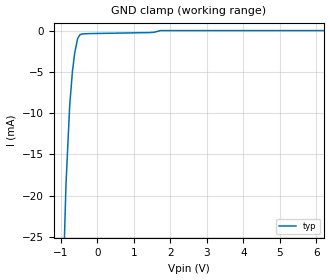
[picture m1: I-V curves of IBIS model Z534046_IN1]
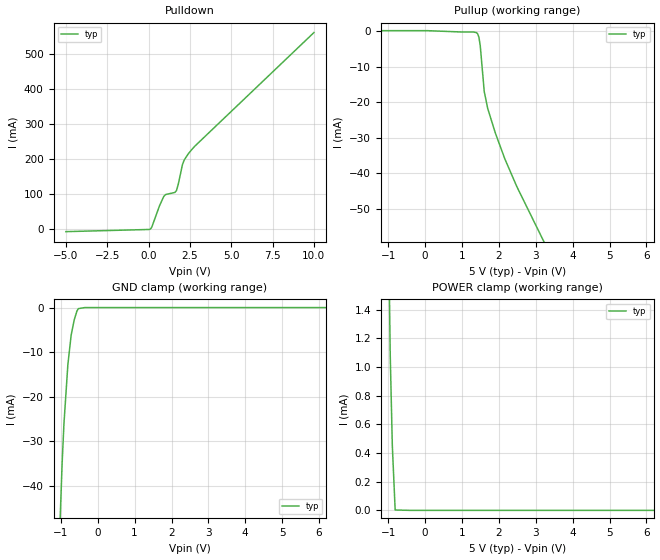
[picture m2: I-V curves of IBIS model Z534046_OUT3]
| YOU ARE ONLY AUTHORIZED TO USE THIS SOFTWARE
| ACCORDING TO LICENSOR'S LICENSE RESTRICTIONS.
[IBIS Ver] 3.1
[File Name] mc54f08j.ibs
[File Rev] 2.0
[Source] Measured and created by ICX Technology
[Date] Friday 7/14/00 9:08:02 AM
[Copyright]
| (C) COPYRIGHT 1993-2000
| MENTOR GRAPHICS CORPORATION
| ICX STANDARD LIBRARY, ICX PROJECT MODELING,
| ICX CUSTOM MODELING, ICX VENDOR MODEL
| ALL RIGHTS RESERVED.
| THE FOLLOWING ARE TRADEMARKS OR SERVICE MARKS OF
| MENTOR GRAPHICS CORPORATION:ICX (R), ICX STANDARD
| LIBRARY(R), ICX PROJECT MODELING(R), ICX CUSTOM
| MODELING(R), qualityIBIS(TM), MODELVIEWER(TM),
| AND MODELEDITOR(TM)
| ALL COPIES OF SOFTWARE, INCLUDING BUT NOT LIMITED TO
| ANY MODIFICATIONS, ENHANCEMENTS OR DERIVATIVE WORKS,
| MUST CONTAIN ALL MENTOR GRAPHICS CORPORATION'S
| NOTICES AND LEGENDS, INCLUDING THOSE EMBEDDED IN
| SOFTWARE AND THOSE AFFIXED TO SOFTWARE MEDIUM
| AND CONTAINER, AS RECEIVED FROM MENTOR GRAPHICS
| CORPORATION.
|  ZAP Model Builder 2.7
[Component] MC54F08J
[Manufacturer] OnSemiconductor
[Package]
| variable   typ   min   max
R_pkg  .21ohms NA NA
L_pkg  4.543nH NA NA
C_pkg  1.8pF NA NA
[Pin] signal_name  model_name  R_pin  L_pin C_pin
1 A Z534046_IN1 .22 6.757n 2.434p
2 B Z534046_IN1 .212 4.757n 1.941p
3 Y Z534046_OUT3 .204 3.257n 1.448p
4 A Z534046_IN1 .196 2.257n .955p
5 B Z534046_IN1 .204 3.257n 1.448p
6 Y Z534046_OUT3 .212 4.757n 1.941p
7 GND GND .22 6.757n 2.434p
8 Y Z534046_OUT3 .22 6.757n 2.434p
9 A Z534046_IN1 .212 4.757n 1.941p
10 B Z534046_IN1 .204 3.257n 1.448p
11 Y Z534046_OUT3 .196 2.257n .955p
12 A Z534046_IN1 .204 3.257n 1.448p
13 B Z534046_IN1 .212 4.757n 1.941p
14 VCC POWER .22 6.757n 2.434p
| Models and submodels in the file (2): Z534046_IN1 (Input), Z534046_OUT3 (Output)
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| (C) COPYRIGHT 1993-2000
| MENTOR GRAPHICS CORPORATION
| ICX STANDARD LIBRARY, ICX PROJECT MODELING,
| ICX CUSTOM MODELING, ICX VENDOR MODEL
| ALL RIGHTS RESERVED.
| THE FOLLOWING ARE TRADEMARKS OR SERVICE MARKS OF
| MENTOR GRAPHICS CORPORATION:ICX (R), ICX STANDARD
| LIBRARY(R), ICX PROJECT MODELING(R), ICX CUSTOM
| MODELING(R), qualityIBIS(TM), MODELVIEWER(TM),
| AND MODELEDITOR(TM)
| ALL COPIES OF SOFTWARE, INCLUDING BUT NOT LIMITED TO
| ANY MODIFICATIONS, ENHANCEMENTS OR DERIVATIVE WORKS,
| MUST CONTAIN ALL MENTOR GRAPHICS CORPORATION'S
| NOTICES AND LEGENDS, INCLUDING THOSE EMBEDDED IN
| SOFTWARE AND THOSE AFFIXED TO SOFTWARE MEDIUM
| AND CONTAINER, AS RECEIVED FROM MENTOR GRAPHICS
| CORPORATION.
| Model Application Version 1.89 2/18/99.
[Model] Z534046_IN1
Model_type Input
Vinl = 800.0mV
Vinh = 2.000V
C_comp 4.000pF NA NA
| variable typ   min   max
[Voltage Range] 5.000V NA NA
[GND Clamp Reference] 0.000V NA NA
[POWER Clamp Reference] 5.000V NA NA
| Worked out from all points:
|   GND clamp passes 1 mA (typ) near -0.54 V on its own axis
[GND Clamp]
-5V       -654.1mA   NA         NA
-858.9mV  -18.64mA   NA         NA
-756.5mV  -9.05mA    NA         NA
-680.3mV  -4.868mA   NA         NA
-620mV    -2.717mA   NA         NA
-540.8mV  -983.3uA   NA         NA
-482mV    -523.3uA   NA         NA
-424.7mV  -407.8uA   NA         NA
1.45V     -241.4uA   NA         NA
1.724V    -668.1nA   NA         NA
10V       -668.1nA   NA         NA
[POWER Clamp]
-5V       0A         NA         NA
10V       0A         NA         NA
| (C) COPYRIGHT 1993-2000
| MENTOR GRAPHICS CORPORATION
| ICX STANDARD LIBRARY, ICX PROJECT MODELING,
| ICX CUSTOM MODELING, ICX VENDOR MODEL
| ALL RIGHTS RESERVED.
| THE FOLLOWING ARE TRADEMARKS OR SERVICE MARKS OF
| MENTOR GRAPHICS CORPORATION:ICX (R), ICX STANDARD
| LIBRARY(R), ICX PROJECT MODELING(R), ICX CUSTOM
| MODELING(R), qualityIBIS(TM), MODELVIEWER(TM),
| AND MODELEDITOR(TM)
| ALL COPIES OF SOFTWARE, INCLUDING BUT NOT LIMITED TO
| ANY MODIFICATIONS, ENHANCEMENTS OR DERIVATIVE WORKS,
| MUST CONTAIN ALL MENTOR GRAPHICS CORPORATION'S
| NOTICES AND LEGENDS, INCLUDING THOSE EMBEDDED IN
| SOFTWARE AND THOSE AFFIXED TO SOFTWARE MEDIUM
| AND CONTAINER, AS RECEIVED FROM MENTOR GRAPHICS
| CORPORATION.
| Model Application Version 1.89 2/18/99.
[Model] Z534046_OUT3
Model_type Output
Vref=0.000V
Rref=500.0ohms
Cref=50.00pF
Vmeas=1.500V
C_comp 8.000pF NA NA
| variable typ   min   max
[Voltage Range] 5.000V NA NA
[POWER Clamp Reference] 5.000V NA NA
[Pullup Reference] 5.000V NA NA
[Pulldown Reference] 0.000V NA NA
[GND Clamp Reference] 0.000V NA NA
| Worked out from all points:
|   slope of the pulldown table from 0 to 0.75 V, typ, clamps not added: 9.73 ohm
|   slope of the pullup table from 0 to 0.75 V, typ, clamps not added: 2.72 kohm
|   GND clamp passes 1 mA (typ) near -0.57 V on its own axis
|   POWER clamp passes 1 mA (typ) near -0.94 V on its own axis
[GND Clamp]
-5V       -8.76A     NA         NA
-1.079V   -61.16mA   NA         NA
-966.8mV  -35.06mA   NA         NA
-917.9mV  -26.18mA   NA         NA
-810.5mV  -12.77mA   NA         NA
-720.9mV  -6.134mA   NA         NA
-640mV    -2.809mA   NA         NA
-566.4mV  -799.1uA   NA         NA
-527.3mV  -239.3uA   NA         NA
-351.5mV  0A         NA         NA
10V       0A         NA         NA
[Pulldown]
-5V       -7.666mA   NA         NA
87.89mV   -668.1uA   NA         NA
204.1mV   6.619mA    NA         NA
654.6mV   65.62mA    NA         NA
908.4mV   92.08mA    NA         NA
1.04V     98.57mA    NA         NA
1.689V    110mA      NA         NA
1.804V    129.9mA    NA         NA
2.047V    183.9mA    NA         NA
2.15V     196.8mA    NA         NA
2.597V    226.3mA    NA         NA
10V       561.6mA    NA         NA
[Pullup]
-5V       162.5uA    NA         NA
68mV      162.5uA    NA         NA
1.382V    -361.2uA   NA         NA
1.42V     -635.7uA   NA         NA
1.458V    -1.689mA   NA         NA
1.494V    -4.083mA   NA         NA
1.602V    -16.94mA   NA         NA
1.695V    -21.67mA   NA         NA
1.904V    -28.64mA   NA         NA
2.16V     -35.87mA   NA         NA
2.489V    -43.75mA   NA         NA
10V       -202.1mA   NA         NA
[POWER Clamp]
-5V       190.5mA    NA         NA
-1.206V   7.764mA    NA         NA
-1.05V    3.082mA    NA         NA
-948mV    1.089mA    NA         NA
-891mV    452.7uA    NA         NA
-814mV    2.5uA      NA         NA
-407mV    0A         NA         NA
10V       0A         NA         NA
[Ramp]
| variable typ min max
dV/dt_r 2.030/2.172n NA NA
dV/dt_f 2.030/888.7p NA NA
R_load = 500.0Ohms
